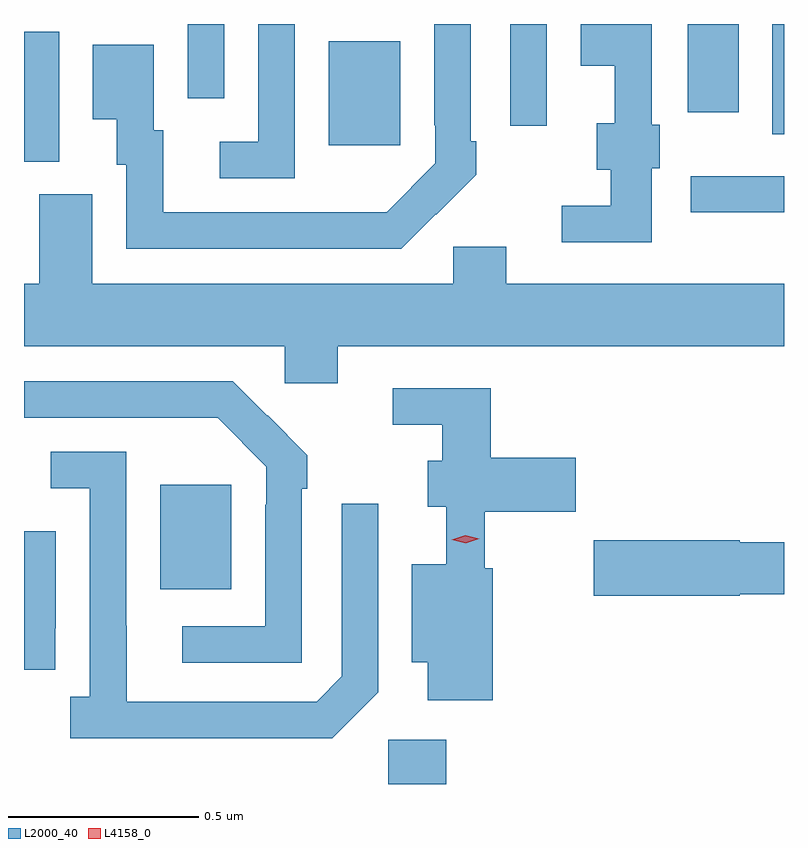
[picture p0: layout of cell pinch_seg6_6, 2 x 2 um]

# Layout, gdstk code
import gdstk
lib = gdstk.Library(unit=1e-6, precision=1e-09)
def R(c, l, rs):  # rectangles x0, y0, x1, y1
    for r in rs: c.add(gdstk.rectangle(r[:2], r[2:], *l))
def P(c, l, *ps):  # polygons
    for p in ps: c.add(gdstk.Polygon(p, *l))
L2000_40 = (2000, 40)
L4158_0 = (4158, 0)

pinch_seg6_6 = lib.new_cell('pinch_seg6_6')
R(pinch_seg6_6, L2000_40, [(1102.302,972.824,1102.454,972.94), (1101.701,973.337,1101.889,973.612), (1103.097,974.328,1103.343,974.424), (1101.343,974.461,1101.436,974.804), (1102.145,974.505,1102.333,974.779), (1103.312,974.534,1103.343,974.824), (1102.623,974.556,1102.719,974.824), (1103.09,974.592,1103.224,974.824), (1101.774,974.628,1101.87,974.824)])
P(pinch_seg6_6, L2000_40, [(1102.056,974.824),(1101.96,974.824),(1101.96,974.514),(1101.858,974.514),(1101.858,974.418),(1102.056,974.418)],
  [(1102.995,974.445),(1103.016,974.445),(1103.016,974.559),(1102.995,974.559),(1102.995,974.824),(1102.808,974.824),(1102.808,974.714),(1102.898,974.714),(1102.898,974.563),(1102.85,974.563),(1102.85,974.441),(1102.887,974.441),(1102.887,974.346),(1102.758,974.346),(1102.758,974.25),(1102.995,974.25)],
  [(1102.427,974.323),(1102.428,974.322),(1102.533,974.427),(1102.533,974.515),(1102.518,974.515),(1102.518,974.824),(1102.422,974.824),(1102.422,974.557),(1102.425,974.557),(1102.425,974.457),(1102.297,974.329),(1102.193,974.329),(1102.193,974.328),(1101.709,974.328),(1101.709,974.544),(1101.685,974.544),(1101.685,974.77),(1101.524,974.77),(1101.524,974.573),(1101.587,974.573),(1101.587,974.454),(1101.612,974.454),(1101.612,974.232),(1102.336,974.232)],
  [(1102.168,973.976),(1103.343,973.976),(1103.343,974.14),(1102.612,974.14),(1102.612,974.238),(1102.473,974.238),(1102.473,974.14),(1101.523,974.14),(1101.523,974.376),(1101.383,974.376),(1101.383,974.14),(1101.343,974.14),(1101.343,973.976),(1102.029,973.976),(1102.029,973.878),(1102.168,973.878)],
  [(1102.074,973.601),(1102.089,973.601),(1102.089,973.689),(1101.984,973.794),(1101.983,973.793),(1101.892,973.884),(1101.343,973.884),(1101.343,973.788),(1101.853,973.788),(1101.981,973.659),(1101.981,973.559),(1101.978,973.559),(1101.978,973.239),(1101.759,973.239),(1101.759,973.143),(1102.074,973.143)],
  [(1102.577,973.392),(1102.556,973.392),(1102.556,973.541),(1102.795,973.541),(1102.795,973.683),(1102.571,973.683),(1102.571,973.866),(1102.314,973.866),(1102.314,973.77),(1102.443,973.77),(1102.443,973.675),(1102.406,973.675),(1102.406,973.553),(1102.454,973.553),(1102.454,973.402),(1102.364,973.402),(1102.364,973.145),(1102.406,973.145),(1102.406,973.044),(1102.577,973.044)],
  [(1102.275,973.065),(1102.275,973.561),(1102.179,973.561),(1102.179,973.107),(1102.113,973.041),(1101.613,973.041),(1101.613,973.241),(1101.612,973.241),(1101.612,973.698),(1101.414,973.698),(1101.414,973.602),(1101.516,973.602),(1101.516,973.054),(1101.465,973.054),(1101.465,972.944),(1102.154,972.944)],
  [(1101.425,973.234),(1101.426,973.234),(1101.426,973.489),(1101.343,973.489),(1101.343,973.125),(1101.425,973.125)],
  [(1103.226,973.324),(1103.343,973.324),(1103.343,973.46),(1103.226,973.46),(1103.226,973.466),(1102.842,973.466),(1102.842,973.319),(1103.226,973.319)])
P(pinch_seg6_6, L4158_0, [(1102.505,973.458),(1102.469,973.467),(1102.468,973.467),(1102.469,973.467),(1102.504,973.478),(1102.541,973.47),(1102.541,973.47),(1102.541,973.469)])

lib.write_gds('pinch_seg6_6.gds')
